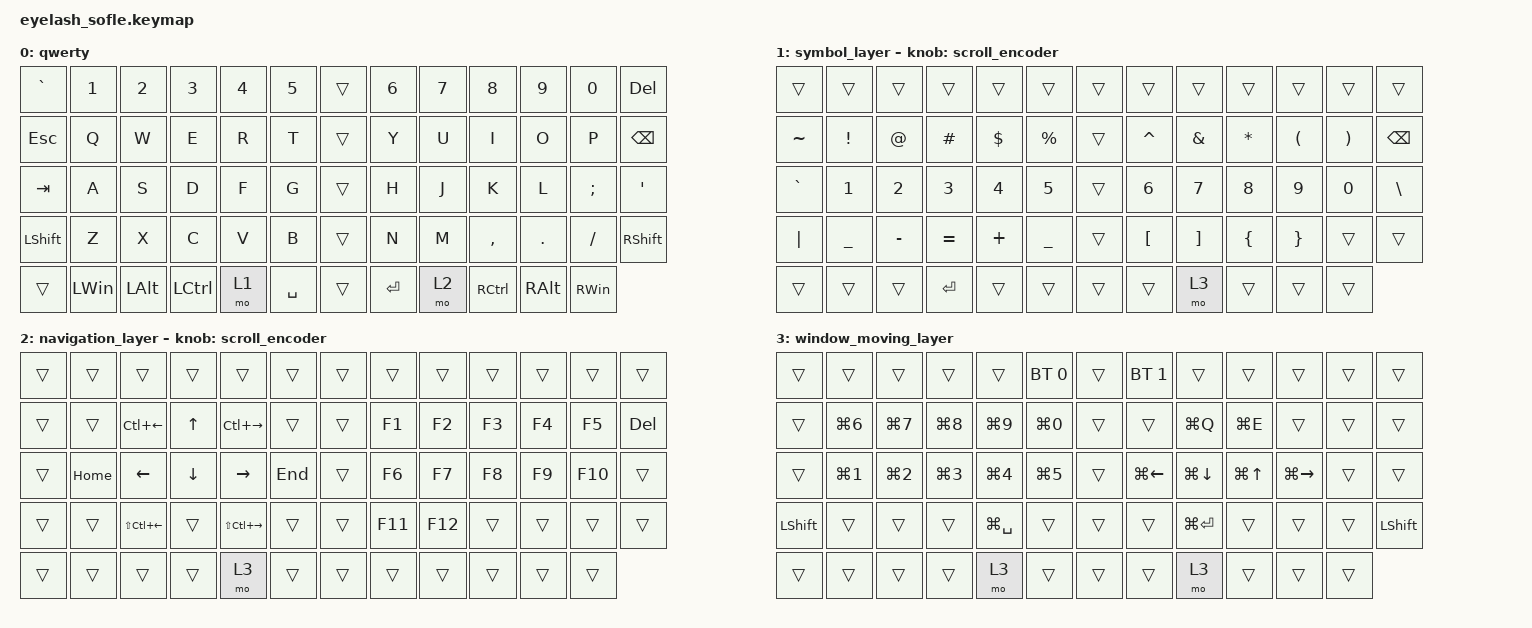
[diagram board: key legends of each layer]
#define ZMK_POINTING_DEFAULT_MOVE_VAL 1200  // 600
#define ZMK_POINTING_DEFAULT_SCRL_VAL 25   // 10

#include <input/processors.dtsi>
#include <zephyr/dt-bindings/input/input-event-codes.h>
#include <behaviors.dtsi>
#include <dt-bindings/zmk/bt.h>
#include <dt-bindings/zmk/keys.h>
#include <dt-bindings/zmk/pointing.h>

&mmv_input_listener { input-processors = <&zip_xy_scaler 2 1>; };

&msc_input_listener { input-processors = <&zip_scroll_scaler 2 1>; };

&msc {
    acceleration-exponent = <1>;      // 0
    time-to-max-speed-ms = <100>;       // 300
    delay-ms = <0>;                   // 0
};

&mmv {
    time-to-max-speed-ms = <500>;
    acceleration-exponent = <1>;
    trigger-period-ms = <16>;
};

/ {
    scroll_encoder: scroll_encoder {
        compatible = "zmk,behavior-sensor-rotate";
        #sensor-binding-cells = <0>;
        bindings = <&msc SCRL_DOWN>, <&msc SCRL_UP>;

        tap-ms = <100>;
    };

    behaviors {
    };

    keymap {
        compatible = "zmk,keymap";

        qwerty {
            bindings = <
&kp GRAVE  &kp N1        &kp N2        &kp N3            &kp N4  &kp N5       &trans  &kp N6     &kp N7  &kp N8             &kp N9         &kp N0         &kp DEL
&kp ESC    &kp Q         &kp W         &kp E             &kp R   &kp T        &trans  &kp Y      &kp U   &kp I              &kp O          &kp P          &kp BSPC
&kp TAB    &kp A         &kp S         &kp D             &kp F   &kp G        &trans  &kp H      &kp J   &kp K              &kp L          &kp SEMI       &kp APOS
&kp LSHFT  &kp Z         &kp X         &kp C             &kp V   &kp B        &trans  &kp N      &kp M   &kp COMMA          &kp DOT        &kp FSLH       &kp RIGHT_SHIFT
&trans     &kp LEFT_WIN  &kp LEFT_ALT  &kp LEFT_CONTROL  &mo 1   &kp SPACE    &trans  &kp ENTER  &mo 2   &kp RIGHT_CONTROL  &kp RIGHT_ALT  &kp RIGHT_WIN
            >;

            display-name = "qwerty";
        };

        symbol_layer {
            bindings = <
&trans     &trans     &trans       &trans     &trans      &trans            &trans  &trans            &trans             &trans          &trans                &trans                 &trans
&kp TILDE  &kp EXCL   &kp AT_SIGN  &kp HASH   &kp DOLLAR  &kp PERCENT       &trans  &kp CARET         &kp AMPERSAND      &kp ASTERISK    &kp LEFT_PARENTHESIS  &kp RIGHT_PARENTHESIS  &kp BSPC
&kp GRAVE  &kp N1     &kp N2       &kp N3     &kp N4      &kp N5            &trans  &kp N6            &kp N7             &kp N8          &kp N9                &kp N0                 &kp BACKSLASH
&kp PIPE   &kp UNDER  &kp MINUS    &kp EQUAL  &kp PLUS    &kp UNDERSCORE    &trans  &kp LEFT_BRACKET  &kp RIGHT_BRACKET  &kp LEFT_BRACE  &kp RIGHT_BRACE       &trans                 &trans
&trans     &trans     &trans       &kp ENTER  &trans      &trans            &trans  &trans            &mo 3              &trans          &trans                &trans
            >;

            sensor-bindings = <&scroll_encoder>;
            label = "symbol_layer";
        };

        navigation_layer {
            bindings = <
&trans  &trans    &trans            &trans        &trans             &trans     &trans  &trans   &trans   &trans  &trans  &trans   &trans
&trans  &trans    &kp LC(LEFT)      &kp UP_ARROW  &kp LC(RIGHT)      &trans     &trans  &kp F1   &kp F2   &kp F3  &kp F4  &kp F5   &kp DELETE
&trans  &kp HOME  &kp LEFT          &kp DOWN      &kp RIGHT          &kp END    &trans  &kp F6   &kp F7   &kp F8  &kp F9  &kp F10  &trans
&trans  &trans    &kp LS(LC(LEFT))  &trans        &kp LS(LC(RIGHT))  &trans     &trans  &kp F11  &kp F12  &trans  &trans  &trans   &trans
&trans  &trans    &trans            &trans        &mo 3              &trans     &trans  &trans   &trans   &trans  &trans  &trans
            >;

            display-name = "navigation_layer";
            sensor-bindings = <&scroll_encoder>;
        };

        window_moving_layer {
            bindings = <
&trans          &trans            &trans      &trans      &trans         &bt BT_SEL 0    &trans  &bt BT_SEL 1        &trans         &trans      &trans         &trans  &trans
&trans          &kp LG(N6)        &kp LG(N7)  &kp LG(N8)  &kp LG(N9)     &kp LG(N0)      &trans  &trans              &kp LG(Q)      &kp LG(E)   &trans         &trans  &trans
&trans          &kp LG(NUMBER_1)  &kp LG(N2)  &kp LG(N3)  &kp LG(N4)     &kp LG(N5)      &trans  &kp LG(LEFT_ARROW)  &kp LG(DOWN)   &kp LG(UP)  &kp LG(RIGHT)  &trans  &trans
&kp LEFT_SHIFT  &trans            &trans      &trans      &kp LG(SPACE)  &trans          &trans  &trans              &kp LG(ENTER)  &trans      &trans         &trans  &kp LEFT_SHIFT
&trans          &trans            &trans      &trans      &mo 3          &trans          &trans  &trans              &mo 3          &trans      &trans         &trans
            >;

            label = "window_moving_layer";
        };
    };
};
